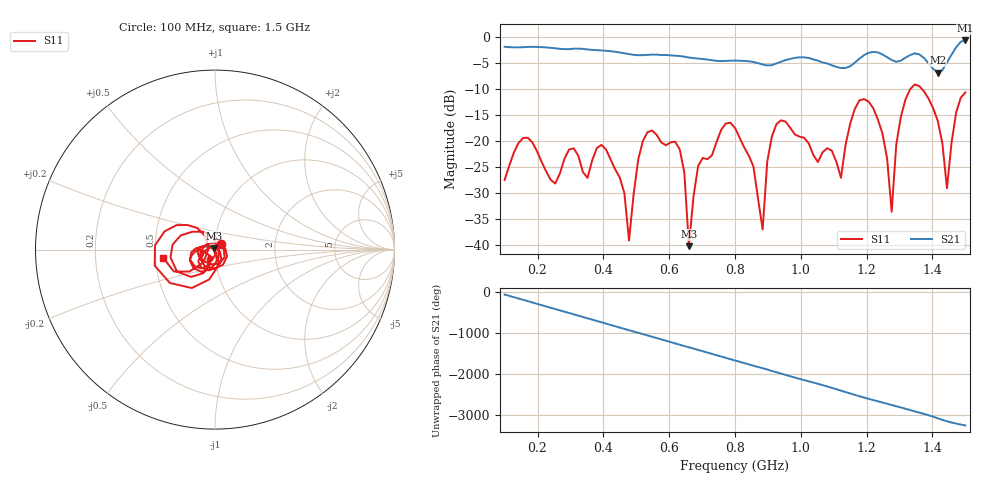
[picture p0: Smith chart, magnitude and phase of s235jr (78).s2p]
! NanoVNA-App
! Date: 2025-09-25 15:04:46
! Start: 100MHz Stop: 1,5GHz Points: 101
! S-Parameter data: F S11 S21 S12 S22
# Hz S RI R 50
!  Frequency  S11_Real  S11_Imag  S21_Real  S21_Imag  S12_Real  S12_Imag  S22_Real  S22_Imag
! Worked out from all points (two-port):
!   101 points, 100 MHz to 1.5 GHz, reference 50 ohm
!   highest |S21| = -0.75 dB at 1.5 GHz (marker M1); lowest = -6.9 dB at 1.416 GHz (marker M2)
!   |S21| within 3 dB of the highest: start of sweep to 633.5 MHz; 1.188 GHz to 1.257 GHz (68.61 MHz wide, 5.61 % of centre) (the widest 2 of 4)
!   lowest |S11| = -40.2 dB at 660 MHz (marker M3), VSWR 1.02, Z = 49.3 + j0.654 ohm
!   |S11| at or under -10 dB: start of sweep to 1.334 GHz; 1.367 GHz to end of sweep
!   S12 and S22 are empty: the file has one direction only
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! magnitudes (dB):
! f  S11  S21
! 100 MHz  -27.5  -2.0
! 156 MHz  -19.4  -2.0
! 338 MHz  -26.0  -2.4
! 408 MHz  -21.6  -2.7
! 478 MHz  -39.1  -3.4
! 520 MHz  -20.0  -3.6
! 576 MHz  -20.3  -3.5
! 632 MHz  -21.6  -3.7
! 660 MHz  -40.2  -4.0
! 688 MHz  -24.8  -4.2
! 800 MHz  -17.5  -4.6
! 884 MHz  -37.0  -5.4
! 926 MHz  -16.8  -5.1
! 1.038 GHz  -22.7  -4.4
! 1.122 GHz  -27.1  -6.0
! 1.206 GHz  -12.5  -3.1
! 1.276 GHz  -33.6  -4.5
! 1.29 GHz  -20.7  -4.8
! 1.332 GHz  -10.1  -3.6
! 1.416 GHz  -16.1  -6.9
! 1.444 GHz  -29.1  -5.0
! 1.5 GHz  -10.7  -0.8
